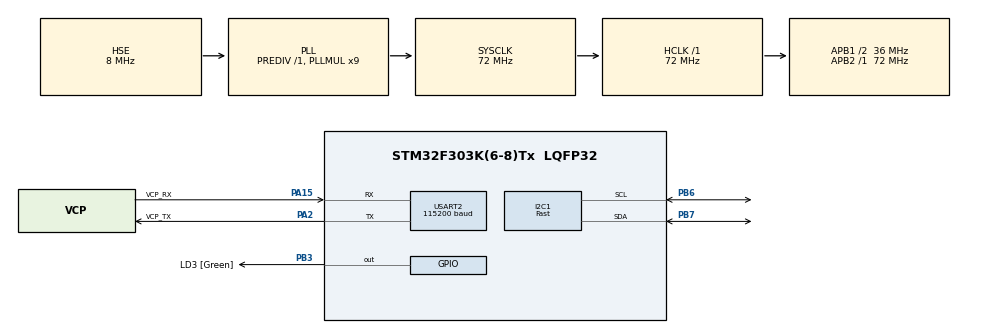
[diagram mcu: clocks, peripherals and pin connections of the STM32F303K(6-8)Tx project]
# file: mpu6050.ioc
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Dma.I2C1_RX.1.Direction=DMA_PERIPH_TO_MEMORY
Dma.I2C1_RX.1.Instance=DMA1_Channel3
Dma.I2C1_RX.1.MemDataAlignment=DMA_MDATAALIGN_BYTE
Dma.I2C1_RX.1.MemInc=DMA_MINC_ENABLE
Dma.I2C1_RX.1.Mode=DMA_CIRCULAR
Dma.I2C1_RX.1.PeriphDataAlignment=DMA_PDATAALIGN_BYTE
Dma.I2C1_RX.1.PeriphInc=DMA_PINC_DISABLE
Dma.I2C1_RX.1.Priority=DMA_PRIORITY_HIGH
Dma.I2C1_TX.0.Direction=DMA_MEMORY_TO_PERIPH
Dma.I2C1_TX.0.Instance=DMA1_Channel2
Dma.I2C1_TX.0.MemDataAlignment=DMA_MDATAALIGN_BYTE
Dma.I2C1_TX.0.MemInc=DMA_MINC_ENABLE
Dma.I2C1_TX.0.Mode=DMA_CIRCULAR
Dma.I2C1_TX.0.PeriphDataAlignment=DMA_PDATAALIGN_BYTE
Dma.I2C1_TX.0.PeriphInc=DMA_PINC_DISABLE
Dma.I2C1_TX.0.Priority=DMA_PRIORITY_HIGH
Dma.Request0=I2C1_TX
Dma.Request1=I2C1_RX
Dma.Request2=USART2_TX
Dma.USART2_TX.2.Direction=DMA_MEMORY_TO_PERIPH
Dma.USART2_TX.2.Instance=DMA1_Channel7
Dma.USART2_TX.2.MemDataAlignment=DMA_MDATAALIGN_BYTE
Dma.USART2_TX.2.MemInc=DMA_MINC_ENABLE
Dma.USART2_TX.2.Mode=DMA_CIRCULAR
Dma.USART2_TX.2.PeriphDataAlignment=DMA_PDATAALIGN_BYTE
Dma.USART2_TX.2.PeriphInc=DMA_PINC_DISABLE
Dma.USART2_TX.2.Priority=DMA_PRIORITY_LOW
I2C1.I2C_Fall_Time=300
I2C1.I2C_Rise_Time=300
I2C1.I2C_Speed_Mode=I2C_Fast
I2C1.Timing=0x00300208
Mcu.Family=STM32F3
Mcu.Name=STM32F303K(6-8)Tx
Mcu.Package=LQFP32
NVIC.DMA1_Channel2_IRQn=true\:0\:0\:false\:false\:true\:false\:true
NVIC.DMA1_Channel3_IRQn=true\:0\:0\:false\:false\:true\:false\:true
NVIC.DMA1_Channel7_IRQn=true\:0\:0\:false\:false\:true\:false\:true
NVIC.I2C1_EV_IRQn=true\:0\:0\:false\:false\:true\:true\:true
NVIC.PriorityGroup=NVIC_PRIORITYGROUP_4
NVIC.TIM6_DAC1_IRQn=true\:0\:0\:false\:false\:true\:true\:true
NVIC.USART2_IRQn=true\:0\:0\:false\:false\:true\:true\:true
PA13.GPIO_Label=SWDIO
PA13.Mode=Serial_Wire
PA13.Signal=SYS_JTMS-SWDIO
PA14.GPIO_Label=SWCLK
PA14.Mode=Serial_Wire
PA14.Signal=SYS_JTCK-SWCLK
PA15.GPIO_Label=VCP_RX
PA15.Mode=Asynchronous
PA15.Signal=USART2_RX
PA2.GPIO_Label=VCP_TX
PA2.Mode=Asynchronous
PA2.Signal=USART2_TX
PB3.GPIO_Label=LD3 [Green]
PB3.Signal=GPIO_Output
PB6.Mode=I2C
PB6.Signal=I2C1_SCL
PB7.Mode=I2C
PB7.Signal=I2C1_SDA
PF0\ /\ OSC_IN.GPIO_Label=MCO
PF0\ /\ OSC_IN.Mode=HSE-External-Clock-Source
PF0\ /\ OSC_IN.Signal=RCC_OSC_IN
ProjectManager.HeapSize=0x200
ProjectManager.StackSize=0x400
ProjectManager.TargetToolchain=STM32CubeIDE
RCC.AHBFreq_Value=72000000
RCC.APB1CLKDivider=RCC_HCLK_DIV2
RCC.APB1Freq_Value=36000000
RCC.APB1TimFreq_Value=72000000
RCC.APB2Freq_Value=72000000
RCC.APB2TimFreq_Value=72000000
RCC.CortexFreq_Value=72000000
RCC.HCLKFreq_Value=72000000
RCC.HSE_VALUE=8000000
RCC.HSI_VALUE=8000000
RCC.PLLMUL=RCC_PLL_MUL9
RCC.PLLSourceVirtual=RCC_PLLSOURCE_HSE
RCC.SYSCLKFreq_VALUE=72000000
RCC.SYSCLKSourceVirtual=RCC_SYSCLKSOURCE_PLLCLK
TIM6.Period=500
TIM6.Prescaler=720-1
USART2.BaudRate=115200
USART2.VirtualMode-Asynchronous=VM_ASYNC
VP_TIM6_VS_ClockSourceINT.Mode=Enable_Timer
board=NUCLEO-F303K8

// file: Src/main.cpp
/* USER CODE BEGIN Header */
/**
 ******************************************************************************
 * @file           : main.c
 * @brief          : Main program body
 ******************************************************************************
 * @attention
 *
 * <h2><center>&copy; Copyright (c) 2019 STMicroelectronics.
 * All rights reserved.</center></h2>
 *
 * This software component is licensed by ST under BSD 3-Clause license,
 * the "License"; You may not use this file except in compliance with the
 * License. You may obtain a copy of the License at:
 *                        opensource.org/licenses/BSD-3-Clause
 *
 ******************************************************************************
 */
/* USER CODE END Header */

#include "main.h"

/* USER CODE BEGIN Includes */
#include <stdbool.h>
#include "MPU6050.hpp"
/* USER CODE END Includes */

/* USER CODE BEGIN PTD */
I2C_HandleTypeDef hi2c1;
DMA_HandleTypeDef hdma_i2c1_tx;
DMA_HandleTypeDef hdma_i2c1_rx;

TIM_HandleTypeDef htim6;

UART_HandleTypeDef huart2;
DMA_HandleTypeDef hdma_usart2_tx;
/* USER CODE END PTD */

/* USER CODE BEGIN PV */
MPU6050 *mpu = new MPU6050();
uint32_t dt=0;
uint32_t last_time=0;
/* USER CODE END PV */

void SystemClock_Config(void);
static void MX_GPIO_Init(void);
static void MX_DMA_Init(void);
static void MX_USART2_UART_Init(void);
static void MX_I2C1_Init(void);
static void MX_TIM6_Init(void);
/* USER CODE BEGIN PFP */
void HAL_TIM_PeriodElapsedCallback(TIM_HandleTypeDef *htim);
/* USER CODE END PFP */

int main(void) {

	/* MCU Configuration--------------------------------------------------------*/

	/* Reset of all peripherals, Initializes the Flash interface and the Systick. */
	HAL_Init();

	/* Configure the system clock */
	SystemClock_Config();

	/* Initialize all configured peripherals */
	MX_GPIO_Init();
	MX_DMA_Init();
	MX_USART2_UART_Init();
	MX_I2C1_Init();
	MX_TIM6_Init();
	/* USER CODE BEGIN 2 */
	char buf[30];
	HAL_NVIC_SetPriority(SysTick_IRQn, 0, 0);
	bool init = mpu->Init(&hi2c1);
	while (!init) {
		mpu->Init(&hi2c1);
	}
	HAL_UART_Transmit_DMA(&huart2, (uint8_t *) buf, sizeof(buf));

	HAL_TIM_Base_Start_IT(&htim6);

//	uint8_t reg = 0x43;
//	while (HAL_I2C_Master_Transmit_DMA(&hi2c1, 0x68 << 1, &reg,
//			1) != HAL_OK)
//		;
	/* USER CODE END 2 */

	/* Infinite loop */
	/* USER CODE BEGIN WHILE */
//	uint32_t last_time = HAL_GetTick();
	while (1) {
//		uint8_t reg = 0x3B;
//		HAL_I2C_Master_Transmit(&hi2c1, 0x68 << 1, &reg, 1,1000);
		//if((HAL_GetTick()-last_time)>5){
		sprintf(buf, "%5.3f  %5.3f  %5.3f\n\r", mpu->vel_x, mpu->raw_ma_x, mpu->movavg_acc_x);
//		sprintf(buf,"%d\n\r",HAL_GetTick());
//		HAL_UART_Transmit(&huart2, (uint8_t *) buf, sizeof(buf),0xFFFF);
//		last_time=HAL_GetTick();
		//}
		/* USER CODE END WHILE */

	}
}

void HAL_TIM_PeriodElapsedCallback(TIM_HandleTypeDef *htim)
{
  if(htim->Instance == TIM6)
  {
	  mpu->Sample(&hi2c1);
  }
}

void SystemClock_Config(void) {
	RCC_OscInitTypeDef RCC_OscInitStruct = { 0 };
	RCC_ClkInitTypeDef RCC_ClkInitStruct = { 0 };
	RCC_PeriphCLKInitTypeDef PeriphClkInit = { 0 };

	/** Initializes the CPU, AHB and APB busses clocks
	 */
	RCC_OscInitStruct.OscillatorType = RCC_OSCILLATORTYPE_HSI
			| RCC_OSCILLATORTYPE_HSE;
	RCC_OscInitStruct.HSEState = RCC_HSE_BYPASS;
	RCC_OscInitStruct.HSEPredivValue = RCC_HSE_PREDIV_DIV1;
	RCC_OscInitStruct.HSIState = RCC_HSI_ON;
	RCC_OscInitStruct.HSICalibrationValue = RCC_HSICALIBRATION_DEFAULT;
	RCC_OscInitStruct.PLL.PLLState = RCC_PLL_ON;
	RCC_OscInitStruct.PLL.PLLSource = RCC_PLLSOURCE_HSE;
	RCC_OscInitStruct.PLL.PLLMUL = RCC_PLL_MUL9;
	if (HAL_RCC_OscConfig(&RCC_OscInitStruct) != HAL_OK) {
		Error_Handler();
	}
	/** Initializes the CPU, AHB and APB busses clocks
	 */
	RCC_ClkInitStruct.ClockType = RCC_CLOCKTYPE_HCLK | RCC_CLOCKTYPE_SYSCLK
			| RCC_CLOCKTYPE_PCLK1 | RCC_CLOCKTYPE_PCLK2;
	RCC_ClkInitStruct.SYSCLKSource = RCC_SYSCLKSOURCE_PLLCLK;
	RCC_ClkInitStruct.AHBCLKDivider = RCC_SYSCLK_DIV1;
	RCC_ClkInitStruct.APB1CLKDivider = RCC_HCLK_DIV2;
	RCC_ClkInitStruct.APB2CLKDivider = RCC_HCLK_DIV1;

	if (HAL_RCC_ClockConfig(&RCC_ClkInitStruct, FLASH_LATENCY_2) != HAL_OK) {
		Error_Handler();
	}
	PeriphClkInit.PeriphClockSelection = RCC_PERIPHCLK_I2C1;
	PeriphClkInit.I2c1ClockSelection = RCC_I2C1CLKSOURCE_HSI;
	if (HAL_RCCEx_PeriphCLKConfig(&PeriphClkInit) != HAL_OK) {
		Error_Handler();
	}
}

static void MX_I2C1_Init(void) {

	hi2c1.Instance = I2C1;
	hi2c1.Init.Timing = 0x00300208;
	hi2c1.Init.OwnAddress1 = 0;
	hi2c1.Init.AddressingMode = I2C_ADDRESSINGMODE_7BIT;
	hi2c1.Init.DualAddressMode = I2C_DUALADDRESS_DISABLE;
	hi2c1.Init.OwnAddress2 = 0;
	hi2c1.Init.OwnAddress2Masks = I2C_OA2_NOMASK;
	hi2c1.Init.GeneralCallMode = I2C_GENERALCALL_DISABLE;
	hi2c1.Init.NoStretchMode = I2C_NOSTRETCH_DISABLE;
	if (HAL_I2C_Init(&hi2c1) != HAL_OK) {
		Error_Handler();
	}
	/** Configure Analogue filter
	 */
	if (HAL_I2CEx_ConfigAnalogFilter(&hi2c1, I2C_ANALOGFILTER_ENABLE)
			!= HAL_OK) {
		Error_Handler();
	}
	/** Configure Digital filter
	 */
	if (HAL_I2CEx_ConfigDigitalFilter(&hi2c1, 0) != HAL_OK) {
		Error_Handler();
	}

}

static void MX_TIM6_Init(void) {

	TIM_MasterConfigTypeDef sMasterConfig = { 0 };

	htim6.Instance = TIM6;
	htim6.Init.Prescaler = 720 - 1;
	htim6.Init.CounterMode = TIM_COUNTERMODE_UP;
	htim6.Init.Period = 500-1;
	htim6.Init.AutoReloadPreload = TIM_AUTORELOAD_PRELOAD_DISABLE;
	if (HAL_TIM_Base_Init(&htim6) != HAL_OK) {
		Error_Handler();
	}
	sMasterConfig.MasterOutputTrigger = TIM_TRGO_RESET;
	sMasterConfig.MasterSlaveMode = TIM_MASTERSLAVEMODE_DISABLE;
	if (HAL_TIMEx_MasterConfigSynchronization(&htim6, &sMasterConfig)
			!= HAL_OK) {
		Error_Handler();
	}

}

static void MX_USART2_UART_Init(void) {

	huart2.Instance = USART2;
	huart2.Init.BaudRate = 115200;
	huart2.Init.WordLength = UART_WORDLENGTH_8B;
	huart2.Init.StopBits = UART_STOPBITS_1;
	huart2.Init.Parity = UART_PARITY_NONE;
	huart2.Init.Mode = UART_MODE_TX_RX;
	huart2.Init.HwFlowCtl = UART_HWCONTROL_NONE;
	huart2.Init.OverSampling = UART_OVERSAMPLING_16;
	huart2.Init.OneBitSampling = UART_ONE_BIT_SAMPLE_DISABLE;
	huart2.AdvancedInit.AdvFeatureInit = UART_ADVFEATURE_NO_INIT;
	if (HAL_UART_Init(&huart2) != HAL_OK) {
		Error_Handler();
	}

}

static void MX_DMA_Init(void) {

	/* DMA controller clock enable */
	__HAL_RCC_DMA1_CLK_ENABLE()
	;

	/* DMA interrupt init */
	/* DMA1_Channel2_IRQn interrupt configuration */
	HAL_NVIC_SetPriority(DMA1_Channel2_IRQn, 0, 0);
	HAL_NVIC_EnableIRQ(DMA1_Channel2_IRQn);
	/* DMA1_Channel3_IRQn interrupt configuration */
	HAL_NVIC_SetPriority(DMA1_Channel3_IRQn, 0, 0);
	HAL_NVIC_EnableIRQ(DMA1_Channel3_IRQn);
	/* DMA1_Channel7_IRQn interrupt configuration */
	HAL_NVIC_SetPriority(DMA1_Channel7_IRQn, 0, 0);
	HAL_NVIC_EnableIRQ(DMA1_Channel7_IRQn);

}

static void MX_GPIO_Init(void) {
	GPIO_InitTypeDef GPIO_InitStruct = { 0 };

	/* GPIO Ports Clock Enable */
	__HAL_RCC_GPIOF_CLK_ENABLE()
	;
	__HAL_RCC_GPIOA_CLK_ENABLE()
	;
	__HAL_RCC_GPIOB_CLK_ENABLE()
	;

	/*Configure GPIO pin Output Level */
	HAL_GPIO_WritePin(LD3_GPIO_Port, LD3_Pin, GPIO_PIN_RESET);

	/*Configure GPIO pin : LD3_Pin */
	GPIO_InitStruct.Pin = LD3_Pin;
	GPIO_InitStruct.Mode = GPIO_MODE_OUTPUT_PP;
	GPIO_InitStruct.Pull = GPIO_NOPULL;
	GPIO_InitStruct.Speed = GPIO_SPEED_FREQ_LOW;
	HAL_GPIO_Init(LD3_GPIO_Port, &GPIO_InitStruct);

}

void Error_Handler(void) {
}

/************************ (C) COPYRIGHT STMicroelectronics *****END OF FILE****/
